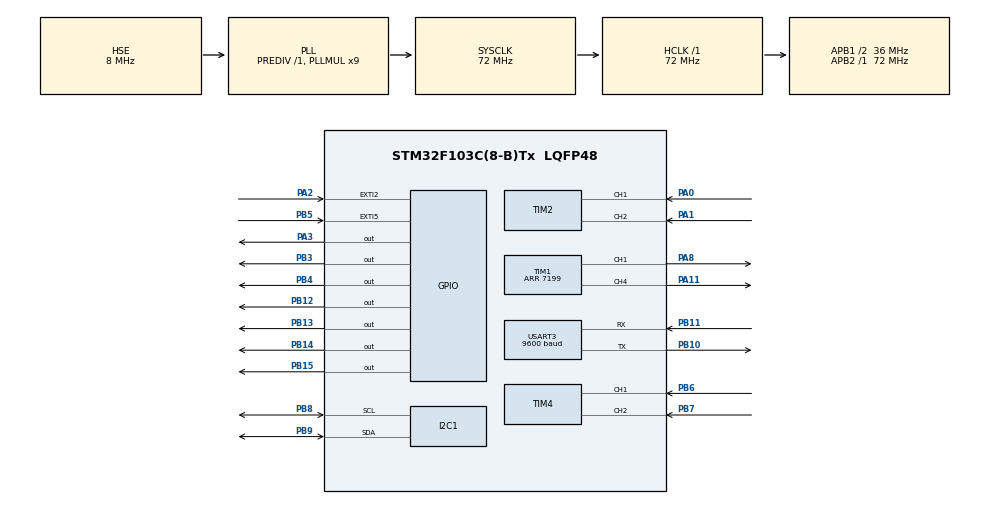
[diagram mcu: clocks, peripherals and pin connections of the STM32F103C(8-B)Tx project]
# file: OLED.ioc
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Mcu.Family=STM32F1
Mcu.Name=STM32F103C(8-B)Tx
Mcu.Package=LQFP48
NVIC.EXTI2_IRQn=true\:0\:0\:false\:false\:true\:true\:true\:true
NVIC.EXTI9_5_IRQn=true\:0\:0\:false\:false\:true\:true\:true\:true
NVIC.PriorityGroup=NVIC_PRIORITYGROUP_4
NVIC.USART3_IRQn=true\:0\:0\:false\:false\:true\:true\:true\:true
PA0-WKUP.Signal=S_TIM2_CH1_ETR
PA1.Signal=S_TIM2_CH2
PA11.Signal=S_TIM1_CH4
PA13.Mode=Serial_Wire
PA13.Signal=SYS_JTMS-SWDIO
PA14.Mode=Serial_Wire
PA14.Signal=SYS_JTCK-SWCLK
PA2.GPIO_ModeDefaultEXTI=GPIO_MODE_IT_RISING_FALLING
PA2.Signal=GPXTI2
PA3.GPIO_Speed=GPIO_SPEED_FREQ_HIGH
PA3.Signal=GPIO_Output
PA8.Signal=S_TIM1_CH1
PB10.Mode=Asynchronous
PB10.Signal=USART3_TX
PB11.Mode=Asynchronous
PB11.Signal=USART3_RX
PB12.Signal=GPIO_Output
PB13.Signal=GPIO_Output
PB14.Signal=GPIO_Output
PB15.Signal=GPIO_Output
PB3.Signal=GPIO_Output
PB4.Signal=GPIO_Output
PB5.GPIO_ModeDefaultEXTI=GPIO_MODE_IT_FALLING
PB5.GPIO_PuPd=GPIO_PULLUP
PB5.Signal=GPXTI5
PB6.Signal=S_TIM4_CH1
PB7.Signal=S_TIM4_CH2
PB8.Mode=I2C
PB8.Signal=I2C1_SCL
PB9.Mode=I2C
PB9.Signal=I2C1_SDA
PC14-OSC32_IN.Mode=LSE-External-Oscillator
PC14-OSC32_IN.Signal=RCC_OSC32_IN
PC15-OSC32_OUT.Mode=LSE-External-Oscillator
PC15-OSC32_OUT.Signal=RCC_OSC32_OUT
PD0-OSC_IN.Mode=HSE-External-Oscillator
PD0-OSC_IN.Signal=RCC_OSC_IN
PD1-OSC_OUT.Mode=HSE-External-Oscillator
PD1-OSC_OUT.Signal=RCC_OSC_OUT
ProjectManager.HeapSize=0x200
ProjectManager.StackSize=0x400
ProjectManager.TargetToolchain=MDK-ARM V5.32
RCC.AHBFreq_Value=72000000
RCC.APB1CLKDivider=RCC_HCLK_DIV2
RCC.APB1Freq_Value=36000000
RCC.APB1TimFreq_Value=72000000
RCC.APB2Freq_Value=72000000
RCC.APB2TimFreq_Value=72000000
RCC.HCLKFreq_Value=72000000
RCC.PLLMUL=RCC_PLL_MUL9
RCC.PLLSourceVirtual=RCC_PLLSOURCE_HSE
RCC.SYSCLKFreq_VALUE=72000000
RCC.SYSCLKSource=RCC_SYSCLKSOURCE_PLLCLK
RCC.USBFreq_Value=72000000
SH.S_TIM1_CH1.0=TIM1_CH1,PWM Generation1 CH1
SH.S_TIM1_CH4.0=TIM1_CH4,PWM Generation4 CH4
SH.S_TIM2_CH1_ETR.0=TIM2_CH1,Encoder_Interface
SH.S_TIM2_CH2.0=TIM2_CH2,Encoder_Interface
SH.S_TIM4_CH1.0=TIM4_CH1,Encoder_Interface
SH.S_TIM4_CH2.0=TIM4_CH2,Encoder_Interface
TIM1.Channel-PWM\ Generation1\ CH1=TIM_CHANNEL_1
TIM1.Channel-PWM\ Generation4\ CH4=TIM_CHANNEL_4
TIM1.Period=7199
TIM1.Pulse-PWM\ Generation1\ CH1=7200
TIM1.Pulse-PWM\ Generation4\ CH4=7200
TIM2.EncoderMode=TIM_ENCODERMODE_TI12
TIM3.Prescaler=71
TIM4.EncoderMode=TIM_ENCODERMODE_TI12
USART3.BaudRate=9600
USART3.VirtualMode=VM_ASYNC
VP_TIM3_VS_ClockSourceINT.Mode=Internal
board=custom

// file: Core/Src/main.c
/* USER CODE BEGIN Header */
/**
  ******************************************************************************
  * @file           : main.c
  * @brief          : Main program body
  ******************************************************************************
  * @attention
  *
  * <h2><center>&copy; Copyright (c) 2024 STMicroelectronics.
  * All rights reserved.</center></h2>
  *
  * This software component is licensed by ST under BSD 3-Clause license,
  * the "License"; You may not use this file except in compliance with the
  * License. You may obtain a copy of the License at:
  *                        opensource.org/licenses/BSD-3-Clause
  *
  ******************************************************************************
  */
/* USER CODE END Header */
#include "main.h"
#include "i2c.h"
#include "tim.h"
#include "usart.h"
#include "gpio.h"

/* USER CODE BEGIN Includes */
#include "oled.h"
#include "IIC.h"
#include "inv_mpu.h"
#include "inv_mpu_dmp_motion_driver.h"
#include "mpu6050.h"
#include "stdio.h"
#include "sr04.h"
#include "motor.h"
/* USER CODE END Includes */

/* USER CODE BEGIN PV */
extern float pitch,roll,yaw;
extern short gyroX,gyroY,gyroZ;
extern int Encoder_Left,Encoder_Right;
uint8_t display_buf[20];
extern float distance;
uint32_t sys_tick;
extern uint8_t rx_buf[2],Bluetooth_data;
/* USER CODE END PV */

void SystemClock_Config(void);
/* USER CODE BEGIN PFP */
void Read(void);
/* USER CODE END PFP */

int main(void)
{

  /* MCU Configuration--------------------------------------------------------*/

  /* Reset of all peripherals, Initializes the Flash interface and the Systick. */
  HAL_Init();

  /* Configure the system clock */
  SystemClock_Config();

  /* Initialize all configured peripherals */
  MX_GPIO_Init();
  MX_I2C1_Init();
  MX_TIM3_Init();
  MX_TIM1_Init();
  MX_TIM2_Init();
  MX_TIM4_Init();
  MX_USART3_UART_Init();
  /* USER CODE BEGIN 2 */
	OLED_Init();
	OLED_Clear();
	MPU_Init();
	mpu_dmp_init();
	OLED_ShowString(0,00,"ok",12);

	HAL_NVIC_SetPriority(EXTI9_5_IRQn, 0, 0);                                  //要在MPU6050初始化完成之后开启中�?
	HAL_NVIC_EnableIRQ(EXTI9_5_IRQn);HAL_TIM_PWM_Start(&htim1,TIM_CHANNEL_1);

	HAL_TIM_PWM_Start(&htim1,TIM_CHANNEL_4);
	HAL_TIM_Encoder_Start(&htim2,TIM_CHANNEL_ALL);
	HAL_TIM_Encoder_Start(&htim4,TIM_CHANNEL_ALL);
	HAL_UART_Receive_IT(&huart3,rx_buf,1);     //接受到一个字节数据进入中断3，”1“表示只接受1个字节数据
	Load(0,0);
	OLED_Clear();
  /* USER CODE END 2 */

  /* Infinite loop */
  /* USER CODE BEGIN WHILE */
  while (1)
  {
//	sprintf((char *)display_buf,"Encoder_L:%d   ",Encoder_Left);
//	OLED_ShowString(0,0,display_buf,16);
//	sprintf((char *)display_buf,"Encoder_R:%d   ",Encoder_Right);
//	OLED_ShowString(0,2,display_buf,16);
    OLED_ShowNum(0,0,rx_buf[0],2,16);
	sprintf((char *)display_buf,"roll:%.1f   ",roll);
	OLED_ShowString(0,4,display_buf,16);
	GET_Distance();
	sprintf((char *)display_buf,"distance:%.1f  ",distance);
	OLED_ShowString(0,6,display_buf,16);

    /* USER CODE END WHILE */

  }
}

void SystemClock_Config(void)
{
  RCC_OscInitTypeDef RCC_OscInitStruct = {0};
  RCC_ClkInitTypeDef RCC_ClkInitStruct = {0};

  /** Initializes the RCC Oscillators according to the specified parameters
  * in the RCC_OscInitTypeDef structure.
  */
  RCC_OscInitStruct.OscillatorType = RCC_OSCILLATORTYPE_HSE;
  RCC_OscInitStruct.HSEState = RCC_HSE_ON;
  RCC_OscInitStruct.HSEPredivValue = RCC_HSE_PREDIV_DIV1;
  RCC_OscInitStruct.HSIState = RCC_HSI_ON;
  RCC_OscInitStruct.PLL.PLLState = RCC_PLL_ON;
  RCC_OscInitStruct.PLL.PLLSource = RCC_PLLSOURCE_HSE;
  RCC_OscInitStruct.PLL.PLLMUL = RCC_PLL_MUL9;
  if (HAL_RCC_OscConfig(&RCC_OscInitStruct) != HAL_OK)
  {
    Error_Handler();
  }
  /** Initializes the CPU, AHB and APB buses clocks
  */
  RCC_ClkInitStruct.ClockType = RCC_CLOCKTYPE_HCLK|RCC_CLOCKTYPE_SYSCLK
                              |RCC_CLOCKTYPE_PCLK1|RCC_CLOCKTYPE_PCLK2;
  RCC_ClkInitStruct.SYSCLKSource = RCC_SYSCLKSOURCE_PLLCLK;
  RCC_ClkInitStruct.AHBCLKDivider = RCC_SYSCLK_DIV1;
  RCC_ClkInitStruct.APB1CLKDivider = RCC_HCLK_DIV2;
  RCC_ClkInitStruct.APB2CLKDivider = RCC_HCLK_DIV1;

  if (HAL_RCC_ClockConfig(&RCC_ClkInitStruct, FLASH_LATENCY_2) != HAL_OK)
  {
    Error_Handler();
  }
}

void Error_Handler(void)
{
  __disable_irq();
  while (1)
  {
  }
}

/************************ (C) COPYRIGHT STMicroelectronics *****END OF FILE****/
